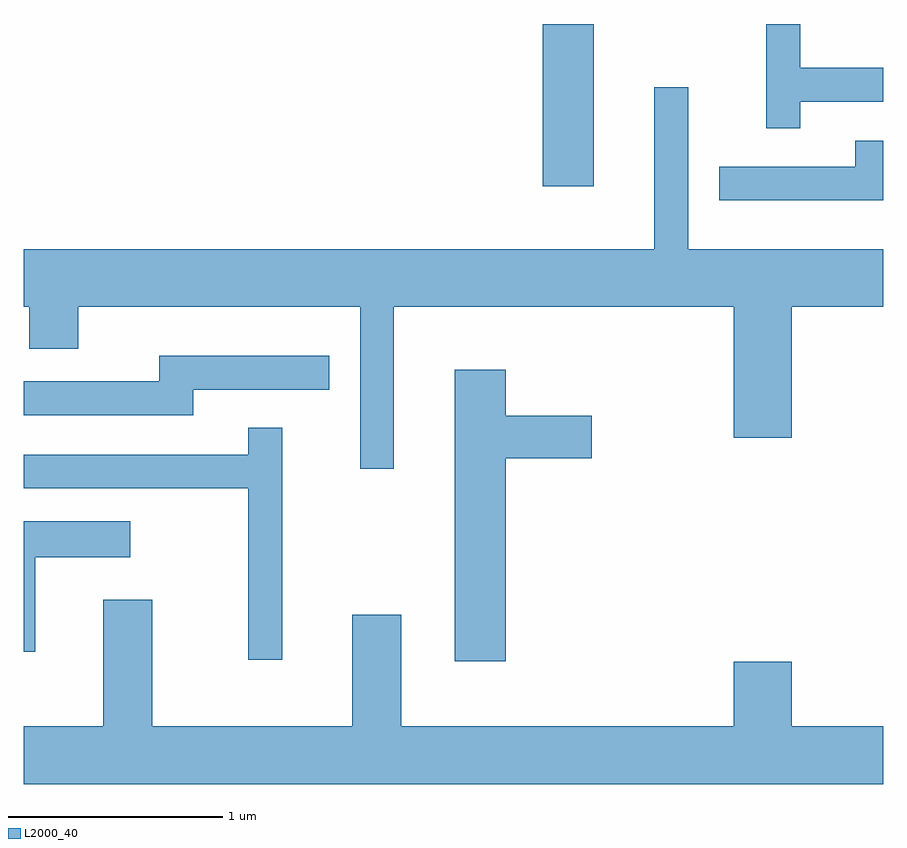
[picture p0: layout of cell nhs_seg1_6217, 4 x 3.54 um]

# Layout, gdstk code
import gdstk
lib = gdstk.Library(unit=1e-6, precision=1e-09)
def R(c, l, rs):  # rectangles x0, y0, x1, y1
    for r in rs: c.add(gdstk.rectangle(r[:2], r[2:], *l))
def P(c, l, *ps):  # polygons
    for p in ps: c.add(gdstk.Polygon(p, *l))
L2000_40 = (2000, 40)

nhs_seg1_6217 = lib.new_cell('nhs_seg1_6217')
R(nhs_seg1_6217, L2000_40, [(374.026,968.956,374.264,969.712)])
P(nhs_seg1_6217, L2000_40, [(375.224,969.351),(375.611,969.351),(375.611,969.509),(375.224,969.509),(375.224,969.712),(375.066,969.712),(375.066,969.228),(375.224,969.228)],
  [(373.334,968.396),(374.916,968.396),(374.916,967.786),(375.184,967.786),(375.184,968.396),(375.611,968.396),(375.611,968.664),(374.704,968.664),(374.704,969.418),(374.546,969.418),(374.546,968.664),(371.611,968.664),(371.611,968.396),(371.636,968.396),(371.636,968.201),(371.864,968.201),(371.864,968.396),(373.176,968.396),(373.176,967.643),(373.334,967.643)],
  [(375.611,969.169),(375.481,969.169),(375.481,969.049),(374.848,969.049),(374.848,968.891),(375.611,968.891)],
  [(372.399,968.011),(373.033,968.011),(373.033,968.169),(372.241,968.169),(372.241,968.049),(371.611,968.049),(371.611,967.891),(372.399,967.891)],
  [(373.854,967.691),(374.254,967.691),(374.254,967.889),(373.854,967.889),(373.854,968.104),(373.616,968.104),(373.616,966.746),(373.854,966.746)],
  [(372.814,967.833),(372.656,967.833),(372.656,967.709),(371.611,967.709),(371.611,967.551),(372.656,967.551),(372.656,966.753),(372.814,966.753)],
  [(371.664,967.231),(372.108,967.231),(372.108,967.399),(371.611,967.399),(371.611,966.791),(371.664,966.791)],
  [(375.611,966.444),(375.184,966.444),(375.184,966.744),(374.916,966.744),(374.916,966.444),(373.369,966.444),(373.369,966.964),(373.141,966.964),(373.141,966.444),(372.209,966.444),(372.209,967.034),(371.981,967.034),(371.981,966.444),(371.611,966.444),(371.611,966.176),(375.611,966.176)])

lib.write_gds('nhs_seg1_6217.gds')
